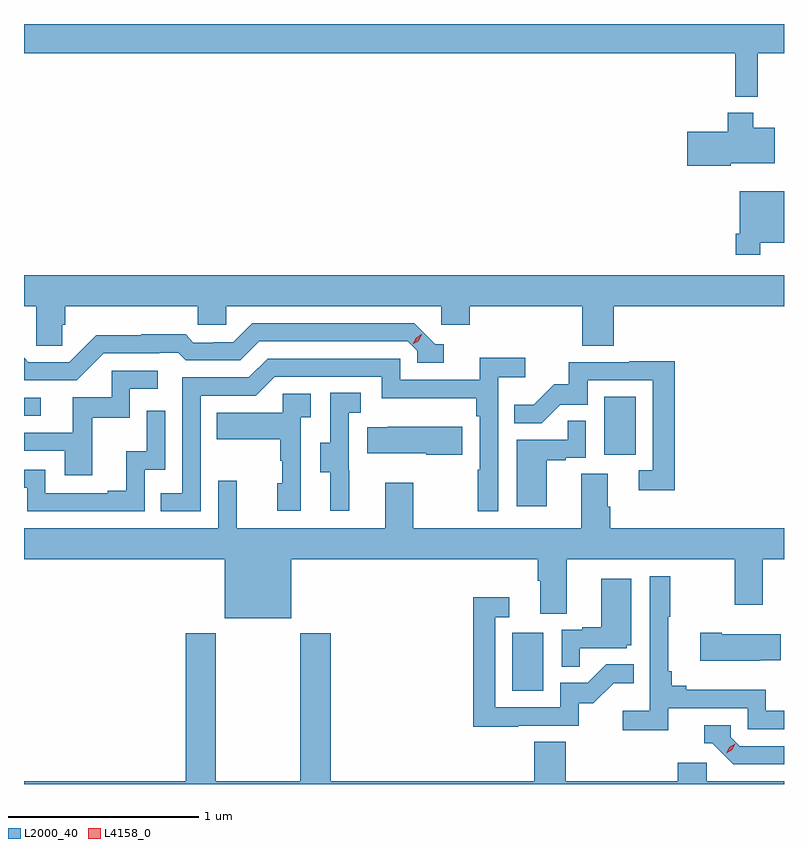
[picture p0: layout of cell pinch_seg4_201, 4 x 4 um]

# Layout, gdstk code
import gdstk
lib = gdstk.Library(unit=1e-6, precision=1e-09)
def R(c, l, rs):  # rectangles x0, y0, x1, y1
    for r in rs: c.add(gdstk.rectangle(r[:2], r[2:], *l))
def P(c, l, *ps):  # polygons
    for p in ps: c.add(gdstk.Polygon(p, *l))
L2000_40 = (2000, 40)
L4158_0 = (4158, 0)

pinch_seg4_201 = lib.new_cell('pinch_seg4_201')
R(pinch_seg4_201, L2000_40, [(986.276,821.436,986.44,821.743), (986.762,822.678,986.926,822.985), (983.707,822.885,983.794,822.978)])
P(pinch_seg4_201, L2000_40, [(987.568,824.792),(987.707,824.792),(987.707,824.946),(983.707,824.946),(983.707,824.792),(987.451,824.792),(987.451,824.564),(987.568,824.564)],
  [(987.426,824.213),(987.658,824.213),(987.658,824.401),(987.544,824.401),(987.544,824.479),(987.41,824.479),(987.41,824.379),(987.198,824.379),(987.198,824.201),(987.426,824.201)],
  [(987.583,823.796),(987.707,823.796),(987.707,824.065),(987.474,824.065),(987.474,823.843),(987.454,823.843),(987.454,823.731),(987.583,823.731)],
  [(983.909,823.362),(983.924,823.362),(983.924,823.46),(984.621,823.46),(984.621,823.362),(984.771,823.362),(984.771,823.46),(985.902,823.46),(985.902,823.362),(986.054,823.362),(986.054,823.46),(986.645,823.46),(986.645,823.252),(986.81,823.252),(986.81,823.46),(987.707,823.46),(987.707,823.624),(983.707,823.624),(983.707,823.46),(983.772,823.46),(983.772,823.252),(983.909,823.252)],
  [(984.126,823.212),(984.419,823.212),(984.419,823.215),(984.518,823.215),(984.557,823.176),(984.846,823.176),(984.945,823.275),(985.728,823.275),(985.776,823.227),(985.776,823.164),(985.915,823.164),(985.915,823.26),(985.872,823.26),(985.761,823.371),(984.908,823.371),(984.809,823.272),(984.702,823.272),(984.702,823.269),(984.599,823.269),(984.557,823.312),(984.324,823.312),(984.324,823.309),(984.088,823.309),(983.946,823.167),(983.73,823.167),(983.707,823.19),(983.707,823.071),(983.985,823.071)],
  [(984.636,822.99),(984.927,822.99),(985.026,823.089),(985.59,823.089),(985.59,822.977),(986.086,822.977),(986.086,822.881),(986.106,822.881),(986.106,822.599),(986.094,822.599),(986.094,822.381),(986.202,822.381),(986.202,823.088),(986.344,823.088),(986.344,823.19),(986.105,823.19),(986.105,823.074),(985.686,823.074),(985.686,823.185),(984.989,823.185),(984.89,823.086),(984.54,823.086),(984.54,822.477),(984.427,822.477),(984.427,822.381),(984.636,822.381)],
  [(987.131,823.172),(986.893,823.172),(986.893,823.167),(986.575,823.167),(986.575,823.05),(986.498,823.05),(986.391,822.943),(986.287,822.943),(986.287,822.844),(986.431,822.844),(986.529,822.942),(986.673,822.942),(986.673,823.071),(987.015,823.071),(987.015,822.597),(986.943,822.597),(986.943,822.492),(987.131,822.492)],
  [(984.065,822.873),(984.264,822.873),(984.264,823.026),(984.412,823.026),(984.412,823.122),(984.168,823.122),(984.168,822.981),(983.963,822.981),(983.963,822.795),(983.707,822.795),(983.707,822.699),(983.921,822.699),(983.921,822.57),(984.065,822.57)],
  [(985.418,822.597),(985.416,822.597),(985.416,822.901),(985.48,822.901),(985.48,823.004),(985.32,823.004),(985.32,822.741),(985.265,822.741),(985.265,822.586),(985.319,822.586),(985.319,822.384),(985.418,822.384)],
  [(985.164,822.875),(985.216,822.875),(985.216,822.999),(985.068,822.999),(985.068,822.901),(984.721,822.901),(984.721,822.761),(985.056,822.761),(985.056,822.647),(985.066,822.647),(985.066,822.528),(985.04,822.528),(985.04,822.384),(985.164,822.384)],
  [(984.342,822.6),(984.45,822.6),(984.45,822.91),(984.354,822.91),(984.354,822.698),(984.245,822.698),(984.245,822.49),(984.149,822.49),(984.149,822.477),(983.82,822.477),(983.82,822.6),(983.707,822.6),(983.707,822.504),(983.724,822.504),(983.724,822.381),(984.342,822.381)],
  [(986.458,822.651),(986.558,822.651),(986.558,822.663),(986.664,822.663),(986.664,822.857),(986.569,822.857),(986.569,822.759),(986.3,822.759),(986.3,822.408),(986.458,822.408)],
  [(986.014,822.826),(985.621,822.826),(985.621,822.823),(985.513,822.823),(985.513,822.686),(985.823,822.686),(985.823,822.679),(986.014,822.679)],
  [(986.411,822.016),(986.423,822.016),(986.423,821.842),(986.563,821.842),(986.563,822.128),(987.448,822.128),(987.448,821.889),(987.595,821.889),(987.595,822.128),(987.707,822.128),(987.707,822.292),(986.792,822.292),(986.792,822.404),(986.779,822.404),(986.779,822.578),(986.639,822.578),(986.639,822.292),(985.755,822.292),(985.755,822.532),(985.607,822.532),(985.607,822.292),(984.827,822.292),(984.827,822.541),(984.729,822.541),(984.729,822.292),(983.707,822.292),(983.707,822.128),(984.764,822.128),(984.764,821.819),(985.114,821.819),(985.114,822.128),(986.411,822.128)],
  [(987.098,821.346),(987.516,821.346),(987.516,821.235),(987.707,821.235),(987.707,821.331),(987.612,821.331),(987.612,821.443),(987.193,821.443),(987.193,821.462),(987.116,821.462),(987.116,821.539),(987.097,821.539),(987.097,821.827),(987.109,821.827),(987.109,822.04),(987,822.04),(987,821.332),(986.859,821.332),(986.859,821.23),(987.098,821.23)],
  [(986.633,821.661),(986.88,821.661),(986.88,821.676),(986.902,821.676),(986.902,822.025),(986.744,822.025),(986.744,821.77),(986.645,821.77),(986.645,821.757),(986.538,821.757),(986.538,821.563),(986.633,821.563)],
  [(986.309,821.253),(986.628,821.253),(986.628,821.37),(986.704,821.37),(986.811,821.477),(986.915,821.477),(986.915,821.576),(986.771,821.576),(986.673,821.478),(986.529,821.478),(986.529,821.349),(986.187,821.349),(986.187,821.823),(986.26,821.823),(986.26,821.929),(986.071,821.929),(986.071,821.248),(986.309,821.248)],
  [(987.581,821.597),(987.689,821.597),(987.689,821.734),(987.379,821.734),(987.379,821.742),(987.267,821.742),(987.267,821.594),(987.581,821.594)],
  [(987.707,820.96),(987.3,820.96),(987.3,821.058),(987.149,821.058),(987.149,820.96),(986.558,820.96),(986.558,821.168),(986.393,821.168),(986.393,820.96),(985.322,820.96),(985.322,821.74),(985.162,821.74),(985.162,820.96),(984.717,820.96),(984.717,821.74),(984.557,821.74),(984.557,820.96),(983.707,820.96),(983.707,820.946),(987.707,820.946)],
  [(987.707,821.145),(987.474,821.145),(987.426,821.193),(987.426,821.256),(987.287,821.256),(987.287,821.16),(987.33,821.16),(987.441,821.049),(987.707,821.049)])
P(pinch_seg4_201, L4158_0, [(985.753,823.26),(985.753,823.261),(985.769,823.293),(985.799,823.313),(985.8,823.313),(985.8,823.312),(985.784,823.28),(985.753,823.26)],
  [(987.403,821.107),(987.403,821.107),(987.42,821.14),(987.451,821.159),(987.451,821.159),(987.451,821.158),(987.434,821.126),(987.403,821.107)])

lib.write_gds('pinch_seg4_201.gds')
